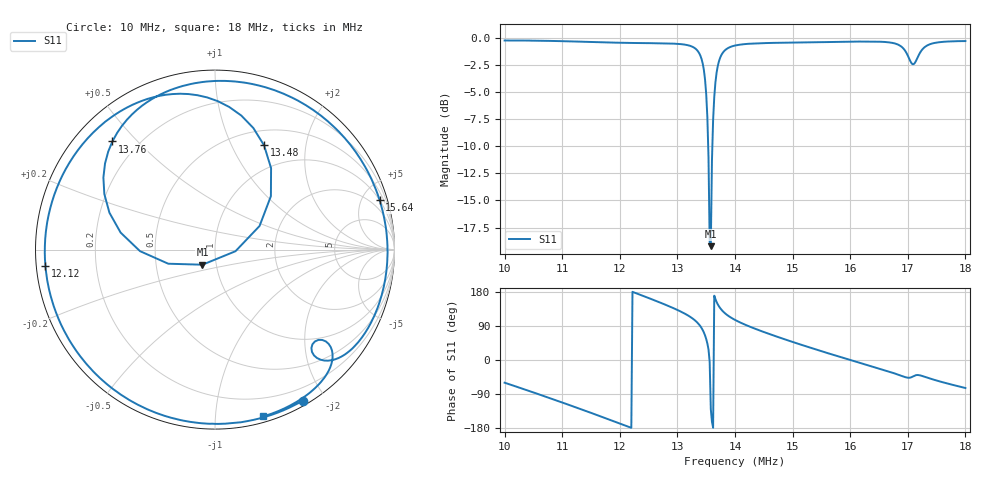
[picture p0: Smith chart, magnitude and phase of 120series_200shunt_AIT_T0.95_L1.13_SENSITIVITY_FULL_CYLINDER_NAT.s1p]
! NanoVNA Web complex sweep
! Processing: original sample grid, no browser smoothing
# Hz S RI R 50
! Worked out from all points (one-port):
!   401 points, 10 MHz to 18 MHz, reference 50 ohm
!   lowest |S11| = -19.2 dB at 13.58 MHz (marker M1), VSWR 1.25, Z = 42.9 - j7.31 ohm
!   |S11| at or under -10 dB: 13.53 MHz to 13.61 MHz (72.53 kHz wide, 0.534 % of centre)
!   S11 on the Smith chart (normalised r, x): 10 MHz: 0.05, -1.73; 12.12 MHz: 0.03, -0.05; 13.48 MHz: 0.68, +1.34; 13.76 MHz: 0.11, +0.43; 15.64 MHz: 1.00, +6.67; 18 MHz: 0.05, -1.33
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1e7  0.4877 -0.8426
1.052e7  0.0567 -0.9699
1.1e7  -0.3643 -0.8951
1.154e7  -0.7517 -0.5932
1.2e7  -0.9282 -0.2047
1.212e7  -0.9446 -0.0926
1.258e7  -0.8819 0.3417
1.3e7  -0.6295 0.6973
1.32e7  -0.4055 0.8293
1.334e7  -0.1477 0.8666
1.342e7  0.0797 0.7944
1.348e7  0.2732 0.5811
1.352e7  0.3115 0.2979
1.354e7  0.2483 0.1316
1.358e7  -0.0698 -0.0842
1.362e7  -0.4179 -0.00863
1.366e7  -0.5883 0.2056
1.376e7  -0.5718 0.6024
1.4e7  -0.2516 0.8878
1.444e7  0.2089 0.9223
1.5e7  0.6412 0.7037
1.564e7  0.9174 0.275
1.6e7  0.9606 0.003
1.66e7  0.8533 -0.4364
1.7e7  0.5681 -0.6039
1.714e7  0.5978 -0.5034
1.732e7  0.642 -0.6558
1.8e7  0.2679 -0.9297
